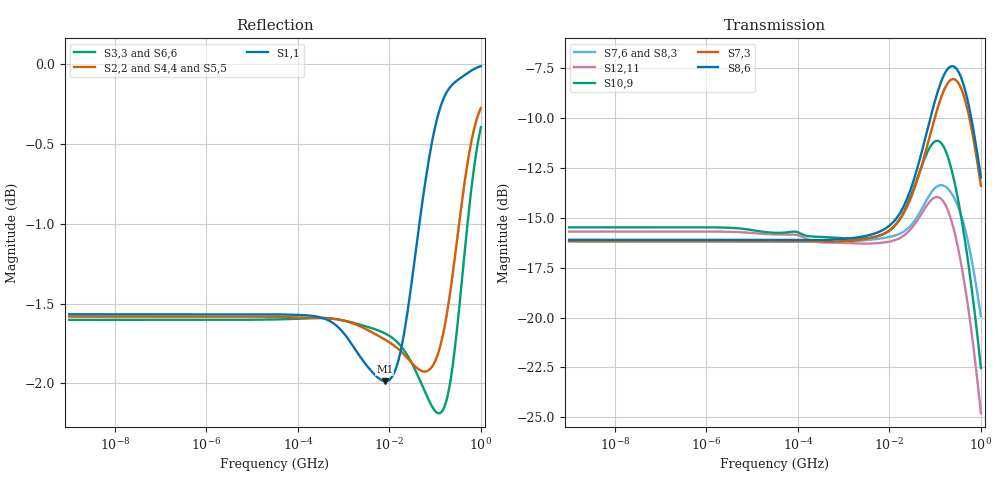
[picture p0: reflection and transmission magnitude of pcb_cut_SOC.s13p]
! Touchstone file exported from Ansys Full-Wave Spice
! Project: 0000_PSI_S-parameter_Sweep
!  Design: unknown
! Creation time: Tue Apr 22 10:16:35 2025
! Notes: ! Touchstone(R) file created by SIwave 2025 R1
!  : ! Touchstone(R) file created on Tue Apr 22 10:16:35 2025
# HZ S RI R 0.1
! Modal data exported
! Port[1] = PORT_1_L34_SOC_VSOC_Group_U40_GND_Group
! Port[2] = PORT_2_U1_SOC_VSOC_Group_U1_GRP_1_1_GND
! Port[3] = SOC_VSOC_C467_1
! Port[4] = SOC_VSOC_C468_1
! Port[5] = SOC_VSOC_C469_1
! Port[6] = SOC_VSOC_C470_1
! Port[7] = SOC_VSOC_C471_1
! Port[8] = SOC_VSOC_C473_1
! Port[9] = SOC_VSOC_C560_1
! Port[10] = SOC_VSOC_C560_3
! Port[11] = SOC_VSOC_C561_1
! Port[12] = SOC_VSOC_C561_3
! Port[13] = SOC_VSOC_C648_1
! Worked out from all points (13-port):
!   420 points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, 1 Hz to 1 GHz, reference 0.1 ohm
!   strongest paths, dB at 1 Hz, 3.687 kHz, 11.66 MHz, 482.9 MHz, 1 GHz:
!     S8,6: -16.1, -16.1, -15.3, -8.9, -13.0
!     S7,3: -16.2, -16.2, -15.5, -9.3, -13.4
!     S10,9: -15.5, -15.5, -15.5, -16.6, -22.5
!     S12,11: -15.7, -15.7, -16.2, -18.9, -24.8
!     S7,6: -16.2, -16.2, -15.9, -15.8, -19.9
!     S8,3: -16.2, -16.2, -16.0, -15.7, -19.9
!   lowest |S11| = -2.0 dB at 7.943 MHz (marker M1), VSWR 8.78, Z = 0.0123 + j0.028 ohm
!   |S11| at or under -10 dB: nowhere
